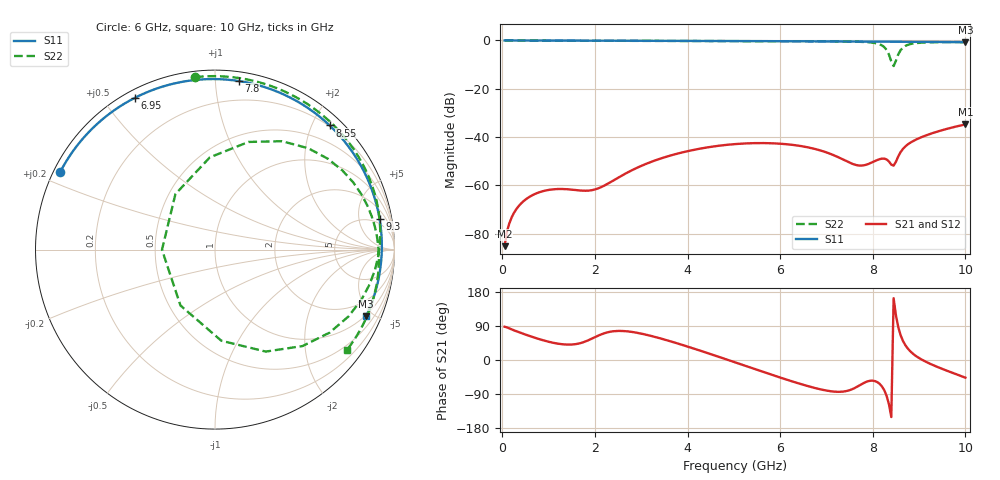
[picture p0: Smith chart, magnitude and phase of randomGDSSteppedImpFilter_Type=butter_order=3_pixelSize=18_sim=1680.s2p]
! freq	dB(S11)	phase(S11)	dB(S12)	phase(S12)
!  dB(S21)	phase(S21)	dB(S22)	phase(S22)
!S-par simulation data
#  GHz  S  DB  R 50
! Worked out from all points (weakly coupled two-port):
!   200 points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, 50 MHz to 10 GHz, reference 50 ohm
!   highest |S21| = -34.75 dB at 10 GHz (marker M1); lowest = -85.1 dB at 50 MHz (marker M2)
!   lowest |S11| = -0.7 dB at 10 GHz (marker M3), VSWR 24.02, Z = 47 - j228 ohm
!   |S11| at or under -10 dB: nowhere
!   |S22| runs from -10.6 to 0.0 dB; largest |S21 - S12| = 0
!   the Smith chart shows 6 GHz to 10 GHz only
!   S11 on the Smith chart (normalised r, x): 6 GHz: 0.02, +0.24; 6.95 GHz: 0.03, +0.60; 7.8 GHz: 0.06, +1.15; 8.55 GHz: 0.19, +2.27; 9.3 GHz: 4, +9; 10 GHz: 0.94, -4.55
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0.05  -0.00 -2.0  -85.14 87.7  -85.14 87.7  -0.00 -2.8
0.3  -0.01 -11.6  -69.90 76.1  -69.90 76.1  -0.02 -16.7
0.65  -0.03 -25.0  -64.05 60.8  -64.05 60.8  -0.05 -35.8
1.2  -0.06 -45.6  -61.49 43.1  -61.49 43.1  -0.08 -64.6
1.75  -0.08 -65.6  -62.18 46.9  -62.18 46.9  -0.11 -91.5
2.6  -0.12 -95.0  -55.73 76.6  -55.73 76.6  -0.14 -129.3
3.4  -0.15 -121.4  -48.99 57.5  -48.99 57.5  -0.17 -161.6
4.2  -0.19 -147.0  -45.03 27.6  -45.03 27.6  -0.20 167.5
5.05  -0.24 -174.4  -42.86 -7.3  -42.86 -7.3  -0.24 134.7
6  -0.31 153.4  -42.74 -46.3  -42.74 -46.3  -0.29 96.6
6.7  -0.37 127.5  -44.67 -72.3  -44.67 -72.3  -0.33 66.7
6.95  -0.39 117.7  -46.02 -79.5  -46.02 -79.5  -0.35 55.5
7.8  -0.46 81.9  -51.70 -61.0  -51.70 -61.0  -0.61 9.7
8.15  -0.49 66.1  -49.12 -63.1  -49.12 -63.1  -1.60 -26.7
8.25  -0.50 61.4  -48.91 -80.2  -48.91 -80.2  -2.79 -47.8
8.35  -0.51 56.7  -50.12 -117.1  -50.12 -117.1  -5.87 -86.0
8.45  -0.51 52.0  -51.81 163.1  -51.81 163.1  -10.60 -179.9
8.55  -0.52 47.3  -48.01 86.8  -48.01 86.8  -5.76 93.2
8.65  -0.53 42.5  -44.92 50.9  -44.92 50.9  -2.97 58.3
8.8  -0.55 35.2  -42.45 24.2  -42.45 24.2  -1.56 31.8
9.3  -0.60 10.7  -38.29 -13.4  -38.29 -13.4  -0.74 -6.8
10  -0.72 -23.8  -34.75 -46.7  -34.75 -46.7  -0.69 -37.2
